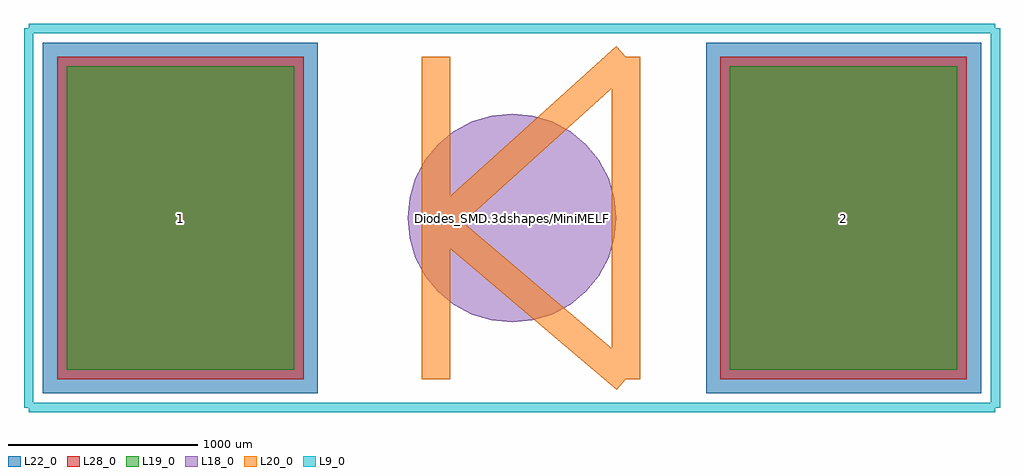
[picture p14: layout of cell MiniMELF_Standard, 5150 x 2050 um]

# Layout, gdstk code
import gdstk
lib = gdstk.Library(unit=1e-6, precision=1e-09)
def R(c, l, rs):  # rectangles x0, y0, x1, y1
    for r in rs: c.add(gdstk.rectangle(r[:2], r[2:], *l))
def P(c, l, *ps):  # polygons
    for p in ps: c.add(gdstk.Polygon(p, *l))
L9_0 = (9, 0)
L18_0 = (18, 0)
L19_0 = (19, 0)
L20_0 = (20, 0)
L22_0 = (22, 0)
L28_0 = (28, 0)

minimelf_standard = lib.new_cell('MiniMELF_Standard')
P(minimelf_standard, L18_0, [(200.66,0),(196.804,39.147),(185.386,76.789),(166.843,111.481),(141.888,141.888),(111.481,166.843),(76.789,185.386),(39.147,196.804),(0,200.66),(-39.147,196.804),(-76.789,185.386),(-111.481,166.843),(-141.888,141.888),(-166.843,111.481),(-185.386,76.789),(-196.804,39.147),(-200.66,0),(-196.804,-39.147),(-185.386,-76.789),(-166.843,-111.481),(-141.888,-141.888),(-111.481,-166.843),(-76.789,-185.386),(-39.147,-196.804),(0,-200.66),(39.147,-196.804),(76.789,-185.386),(111.481,-166.843),(141.888,-141.888),(166.843,-111.481),(185.386,-76.789),(196.804,-39.147)],
  [(551.18,0),(540.589,107.53),(509.224,210.927),(458.289,306.219),(389.743,389.743),(306.219,458.289),(210.927,509.224),(107.53,540.589),(0,551.18),(-107.53,540.589),(-210.927,509.224),(-306.219,458.289),(-389.743,389.743),(-458.289,306.219),(-509.224,210.927),(-540.589,107.53),(-551.18,0),(-540.589,-107.53),(-509.224,-210.927),(-458.289,-306.219),(-389.743,-389.743),(-306.219,-458.289),(-210.927,-509.224),(-107.53,-540.589),(0,-551.18),(107.53,-540.589),(210.927,-509.224),(306.219,-458.289),(389.743,-389.743),(458.289,-306.219),(509.224,-210.927),(540.589,-107.53)])
R(minimelf_standard, L19_0, [(-2350.3,-799.63,-1149.82,799.63), (1149.82,-799.63,2350.3,799.63)])
R(minimelf_standard, L22_0, [(-2475.3,-924.63,-1024.82,924.63), (1024.82,-924.63,2475.3,924.63)])
R(minimelf_standard, L28_0, [(-2400.3,-849.63,-1099.82,849.63), (1099.82,-849.63,2400.3,849.63)])
minimelf_standard.add(gdstk.FlexPath([(-400.24,850),(-400.24,-850)], 149.998, ends="flush", simple_path=True, layer=20, datatype=0))  # L20_0
minimelf_standard.add(gdstk.FlexPath([(600.52,-850),(-400.24,0)], 149.998, ends="flush", simple_path=True, layer=20, datatype=0))  # L20_0
minimelf_standard.add(gdstk.FlexPath([(600.52,850),(600.52,-850)], 149.998, ends="flush", simple_path=True, layer=20, datatype=0))  # L20_0
minimelf_standard.add(gdstk.FlexPath([(-400.24,-50.8),(600.52,850)], 149.998, ends="flush", simple_path=True, layer=20, datatype=0))  # L20_0
minimelf_standard.add(gdstk.FlexPath([(-2550,-1000),(-2550,1000)], 50, ends="flush", simple_path=True, layer=9, datatype=0))  # L9_0
minimelf_standard.add(gdstk.FlexPath([(2550,-1000),(-2550,-1000)], 50, ends="flush", simple_path=True, layer=9, datatype=0))  # L9_0
minimelf_standard.add(gdstk.FlexPath([(2550,1000),(2550,-1000)], 50, ends="flush", simple_path=True, layer=9, datatype=0))  # L9_0
minimelf_standard.add(gdstk.FlexPath([(-2550,1000),(2550,1000)], 50, ends="flush", simple_path=True, layer=9, datatype=0))  # L9_0
minimelf_standard.add(gdstk.Label('Diodes_SMD.3dshapes/MiniMELF_Standard.wrl', (0,0), layer=12, texttype=0))
minimelf_standard.add(gdstk.Label('2', (1750.06,0), layer=28, texttype=0))
minimelf_standard.add(gdstk.Label('1', (-1750.06,0), layer=28, texttype=0))
minimelf_standard.add(gdstk.Label('A', (1800,-1950), layer=9, texttype=0))
minimelf_standard.add(gdstk.Label('K', (-1800,-1950), layer=9, texttype=0))
minimelf_standard.add(gdstk.Label('type', (0,-3810), layer=9, texttype=0))
minimelf_standard.add(gdstk.Label('devicename', (0,1950), layer=9, texttype=0))

lib.write_gds('MiniMELF_Standard.gds')
